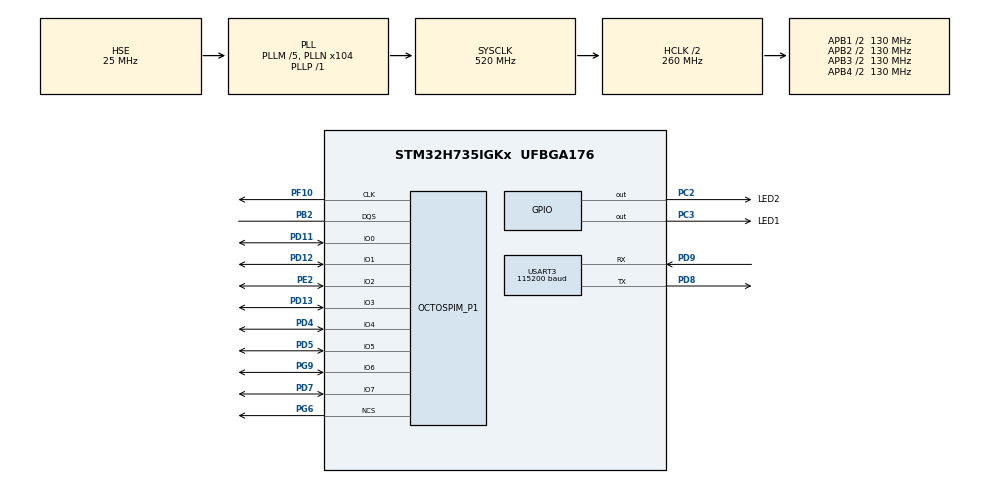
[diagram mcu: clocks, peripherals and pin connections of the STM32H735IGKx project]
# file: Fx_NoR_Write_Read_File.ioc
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CORTEX_M7.CPU_DCache=Enabled
CORTEX_M7.CPU_ICache=Enabled
CORTEX_M7.default_mode_Activation=1
Mcu.Family=STM32H7
Mcu.Name=STM32H735IGKx
Mcu.Package=UFBGA176
Mdma.MDMA_Channel0.OCTOSPI1_FIFO_TH.0.BlockCount=0
Mdma.MDMA_Channel0.OCTOSPI1_FIFO_TH.0.BlockDataLength=0
Mdma.MDMA_Channel0.OCTOSPI1_FIFO_TH.0.BufferTransferLength=1
Mdma.MDMA_Channel0.OCTOSPI1_FIFO_TH.0.CircularMode=MDMA_LINEAR_LIST
Mdma.MDMA_Channel0.OCTOSPI1_FIFO_TH.0.DataAlignment=MDMA_DATAALIGN_PACKENABLE
Mdma.MDMA_Channel0.OCTOSPI1_FIFO_TH.0.DestBlockAddressOffset=0
Mdma.MDMA_Channel0.OCTOSPI1_FIFO_TH.0.DestBurst=MDMA_DEST_BURST_SINGLE
Mdma.MDMA_Channel0.OCTOSPI1_FIFO_TH.0.DestDataSize=MDMA_DEST_DATASIZE_BYTE
Mdma.MDMA_Channel0.OCTOSPI1_FIFO_TH.0.DestinationInc=MDMA_DEST_INC_BYTE
Mdma.MDMA_Channel0.OCTOSPI1_FIFO_TH.0.DstAddress=0
Mdma.MDMA_Channel0.OCTOSPI1_FIFO_TH.0.Endianness=MDMA_LITTLE_ENDIANNESS_PRESERVE
Mdma.MDMA_Channel0.OCTOSPI1_FIFO_TH.0.Instance=MDMA_Channel0
Mdma.MDMA_Channel0.OCTOSPI1_FIFO_TH.0.MaskAddress=0
Mdma.MDMA_Channel0.OCTOSPI1_FIFO_TH.0.MaskData=0
Mdma.MDMA_Channel0.OCTOSPI1_FIFO_TH.0.Priority=MDMA_PRIORITY_LOW
Mdma.MDMA_Channel0.OCTOSPI1_FIFO_TH.0.Rank=First
Mdma.MDMA_Channel0.OCTOSPI1_FIFO_TH.0.SourceBlockAddressOffset=0
Mdma.MDMA_Channel0.OCTOSPI1_FIFO_TH.0.SourceBurst=MDMA_SOURCE_BURST_SINGLE
Mdma.MDMA_Channel0.OCTOSPI1_FIFO_TH.0.SourceDataSize=MDMA_SRC_DATASIZE_BYTE
Mdma.MDMA_Channel0.OCTOSPI1_FIFO_TH.0.SourceInc=MDMA_SRC_INC_BYTE
Mdma.MDMA_Channel0.OCTOSPI1_FIFO_TH.0.SrcAddress=0
Mdma.MDMA_Channel0.OCTOSPI1_FIFO_TH.0.TransferTriggerMode=MDMA_BUFFER_TRANSFER
Mdma.MDMA_Channel0.Request0=OCTOSPI1_FIFO_TH
Mdma.MDMA_Channel0.RequestsNb=1
Mdma.RequestSet0=MDMA_Channel0
Mdma.RequestSetsNb=1
NVIC.MDMA_IRQn=true\:4\:0\:true\:false\:true\:false\:false\:true\:true
NVIC.OCTOSPI1_IRQn=true\:8\:0\:true\:false\:true\:false\:true\:true\:true
NVIC.PriorityGroup=NVIC_PRIORITYGROUP_4
NVIC.TIM6_DAC_IRQn=true\:15\:0\:false\:false\:true\:false\:false\:true\:true
NVIC.TimeBase=TIM6_DAC_IRQn
NVIC.TimeBaseIP=TIM6
OCTOSPI1.ChipSelectBoundary=0
OCTOSPI1.ChipSelectHighTime=2
OCTOSPI1.ClkChipSelectHighTime=2
OCTOSPI1.ClockPrescaler=2
OCTOSPI1.DelayBlockBypass=HAL_OSPI_DELAY_BLOCK_USED
OCTOSPI1.DelayHoldQuarterCycle=HAL_OSPI_DHQC_ENABLE
OCTOSPI1.DeviceSize=26
OCTOSPI1.FifoThreshold=4
OCTOSPI1.MemoryType=HAL_OSPI_MEMTYPE_MACRONIX
PB2.Mode=OCTOSPI1_Port1_DQS
PB2.Signal=OCTOSPIM_P1_DQS
PC2.GPIO_Label=LED2
PC2.GPIO_Speed=GPIO_SPEED_FREQ_HIGH
PC2.PinState=GPIO_PIN_SET
PC2.Signal=GPIO_Output
PC3.GPIO_Label=LED1
PC3.GPIO_Speed=GPIO_SPEED_FREQ_HIGH
PC3.PinState=GPIO_PIN_SET
PC3.Signal=GPIO_Output
PD11.Mode=OCTOSPI1_IOL_Port1L
PD11.Signal=OCTOSPIM_P1_IO0
PD12.Mode=OCTOSPI1_IOL_Port1L
PD12.Signal=OCTOSPIM_P1_IO1
PD13.Mode=OCTOSPI1_IOL_Port1L
PD13.Signal=OCTOSPIM_P1_IO3
PD4.Mode=OCTOSPI1_IOH_Port1H
PD4.Signal=OCTOSPIM_P1_IO4
PD5.Mode=OCTOSPI1_IOH_Port1H
PD5.Signal=OCTOSPIM_P1_IO5
PD7.Mode=OCTOSPI1_IOH_Port1H
PD7.Signal=OCTOSPIM_P1_IO7
PD8.Mode=Asynchronous
PD8.Signal=USART3_TX
PD9.Mode=Asynchronous
PD9.Signal=USART3_RX
PE2.Mode=OCTOSPI1_IOL_Port1L
PE2.Signal=OCTOSPIM_P1_IO2
PF10.Mode=O1_P1_CLK
PF10.Signal=OCTOSPIM_P1_CLK
PG6.Mode=OCTOSPI1_Port1_NCS
PG6.Signal=OCTOSPIM_P1_NCS
PG9.Mode=OCTOSPI1_IOH_Port1H
PG9.Signal=OCTOSPIM_P1_IO6
PH0-OSC_IN.Mode=HSE-External-Oscillator
PH0-OSC_IN.Signal=RCC_OSC_IN
PH1-OSC_OUT.Mode=HSE-External-Oscillator
PH1-OSC_OUT.Signal=RCC_OSC_OUT
ProjectManager.HeapSize=0x200
ProjectManager.StackSize=0x400
ProjectManager.TargetToolchain=EWARM V8.50
RCC.ADCFreq_Value=50390625
RCC.APB1Freq_Value=130000000
RCC.APB2Freq_Value=130000000
RCC.APB3Freq_Value=130000000
RCC.APB4Freq_Value=130000000
RCC.CortexFreq_Value=520000000
RCC.D1PPRE=RCC_APB3_DIV2
RCC.D2PPRE1=RCC_APB1_DIV2
RCC.D2PPRE2=RCC_APB2_DIV2
RCC.D3PPRE=RCC_APB4_DIV2
RCC.DIVM1=5
RCC.DIVN1=104
RCC.DIVP1=1
RCC.DIVQ1=4
RCC.HCLKFreq_Value=260000000
RCC.HPRE=RCC_HCLK_DIV2
RCC.PLLSourceVirtual=RCC_PLLSOURCE_HSE
RCC.SYSCLKFreq_VALUE=520000000
RCC.SYSCLKSource=RCC_SYSCLKSOURCE_PLLCLK
RCC.SupplySource=PWR_DIRECT_SMPS_SUPPLY
RCC.USBFreq_Value=130000000
STMicroelectronics.X-CUBE-AZRTOS-H7.3.2.0.FILEX_APPLICATION_THREAD_STACK_SIZE=(1024 * 2)
STMicroelectronics.X-CUBE-AZRTOS-H7.3.2.0.FX_APP_MEM_POOL_SIZE=4*1024
STMicroelectronics.X-CUBE-AZRTOS-H7.3.2.0.FX_MAX_FAT_CACHE_NB_BIT=4
STMicroelectronics.X-CUBE-AZRTOS-H7.3.2.0.FileXCcFileOoSystemJjFileXJjCore=true
STMicroelectronics.X-CUBE-AZRTOS-H7.3.2.0.InterfacesCcFileOoSystemJjFileXOoLevelXOoNOROoOointerface=true
STMicroelectronics.X-CUBE-AZRTOS-H7.3.2.0.InterfacesCcFileOoSystemJjLevelXOoOctoSPIOomemoryOointerface=true
STMicroelectronics.X-CUBE-AZRTOS-H7.3.2.0.LX_DRIVER_ERASES_OSPI_AFTER_INIT=0
STMicroelectronics.X-CUBE-AZRTOS-H7.3.2.0.LevelXCcFileOoSystemJjLevelXJjNOROoFlashOoSupport=true
STMicroelectronics.X-CUBE-AZRTOS-H7.3.2.0.STM32CubeIiBSPIiComponentsCcBoardOoPartJjOSPIJjMX25LM51245G=true
STMicroelectronics.X-CUBE-AZRTOS-H7.3.2.0.STM32CubeIiBSPIiComponentsCcBoardOoPartJjOctoSPIJjMX25LM51245G=true
STMicroelectronics.X-CUBE-AZRTOS-H7.3.2.0.ThreadXCcRTOSJjThreadXJjCore=true
STMicroelectronics.X-CUBE-AZRTOS-H7.3.2.0_IsAnAzureRtosMw=true
USART3.BaudRate=115200
USART3.Parity=PARITY_NONE
USART3.VirtualMode-Asynchronous=VM_ASYNC
VP_OCTOSPI1_VS_octo.Mode=octo_mode
VP_STMicroelectronics.X-CUBE-AZRTOS-H7_VS_BoardOoPartJjSTM32CubeIiBSPIiComponents_3.2.0_3.2.0.Mode=BoardOoPartJjSTM32CubeIiBSPIiComponents
VP_STMicroelectronics.X-CUBE-AZRTOS-H7_VS_FileOoSystemJjFileX_6.2.1_3.2.0.Mode=FileOoSystemJjFileX
VP_STMicroelectronics.X-CUBE-AZRTOS-H7_VS_FileOoSystemJjInterfaces_3.2.0_3.2.0.Mode=FileOoSystemJjInterfaces
VP_STMicroelectronics.X-CUBE-AZRTOS-H7_VS_FileOoSystemJjLevelX_6.2.1_3.2.0.Mode=FileOoSystemJjLevelX
VP_STMicroelectronics.X-CUBE-AZRTOS-H7_VS_RTOSJjThreadX_6.2.1_3.2.0.Mode=RTOSJjThreadX
VP_SYS_VS_tim6.Mode=TIM6
board=STM32H735G-DK

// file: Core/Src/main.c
/* USER CODE BEGIN Header */
/**
  ******************************************************************************
  * @file           : main.c
  * @brief          : Main program body
  ******************************************************************************
  * @attention
  *
  * Copyright (c) 2021 STMicroelectronics.
  * All rights reserved.
  *
  * This software is licensed under terms that can be found in the LICENSE file
  * in the root directory of this software component.
  * If no LICENSE file comes with this software, it is provided AS-IS.
  *
  ******************************************************************************
  */
/* USER CODE END Header */
#include "app_threadx.h"
#include "main.h"

/* USER CODE BEGIN Includes */
#include <stdio.h>
#if defined(__ICCARM__)
#include <LowLevelIOInterface.h>
#endif /* __ICCARM__ */
/* USER CODE END Includes */

OSPI_HandleTypeDef hospi1;
MDMA_HandleTypeDef hmdma_octospi1_fifo_th;

UART_HandleTypeDef huart3;

void SystemClock_Config(void);
static void MPU_Config(void);
static void MX_GPIO_Init(void);
static void MX_MDMA_Init(void);
static void MX_OCTOSPI1_Init(void);
static void MX_USART3_UART_Init(void);
/* USER CODE BEGIN PFP */

#if defined(__ICCARM__)
/* New definition from EWARM V9, compatible with EWARM8 */
int iar_fputc(int ch);
#define PUTCHAR_PROTOTYPE int iar_fputc(int ch)
#elif defined ( __CC_ARM ) || defined(__ARMCC_VERSION)
/* ARM Compiler 5/6*/
#define PUTCHAR_PROTOTYPE int fputc(int ch, FILE *f)
#elif defined(__GNUC__)
#define PUTCHAR_PROTOTYPE int __io_putchar(int ch)
#endif /* __ICCARM__ */

/* USER CODE END PFP */

int main(void)
{

  /* MPU Configuration--------------------------------------------------------*/
  MPU_Config();

  /* Enable I-Cache---------------------------------------------------------*/
  SCB_EnableICache();

  /* Enable D-Cache---------------------------------------------------------*/
  SCB_EnableDCache();

  /* MCU Configuration--------------------------------------------------------*/

  /* Reset of all peripherals, Initializes the Flash interface and the Systick. */
  HAL_Init();

  /* Configure the system clock */
  SystemClock_Config();

  /* Initialize all configured peripherals */
  MX_GPIO_Init();
  MX_MDMA_Init();
  MX_OCTOSPI1_Init();
  MX_USART3_UART_Init();

  MX_ThreadX_Init();

  /* We should never get here as control is now taken by the scheduler */
  /* Infinite loop */
  while (1)
  {

  }
}

void SystemClock_Config(void)
{
  RCC_OscInitTypeDef RCC_OscInitStruct = {0};
  RCC_ClkInitTypeDef RCC_ClkInitStruct = {0};

  /** Supply configuration update enable
  */
  HAL_PWREx_ConfigSupply(PWR_DIRECT_SMPS_SUPPLY);

  /** Configure the main internal regulator output voltage
  */
  __HAL_PWR_VOLTAGESCALING_CONFIG(PWR_REGULATOR_VOLTAGE_SCALE0);

  while(!__HAL_PWR_GET_FLAG(PWR_FLAG_VOSRDY)) {}

  /** Initializes the RCC Oscillators according to the specified parameters
  * in the RCC_OscInitTypeDef structure.
  */
  RCC_OscInitStruct.OscillatorType = RCC_OSCILLATORTYPE_HSE;
  RCC_OscInitStruct.HSEState = RCC_HSE_ON;
  RCC_OscInitStruct.PLL.PLLState = RCC_PLL_ON;
  RCC_OscInitStruct.PLL.PLLSource = RCC_PLLSOURCE_HSE;
  RCC_OscInitStruct.PLL.PLLM = 5;
  RCC_OscInitStruct.PLL.PLLN = 104;
  RCC_OscInitStruct.PLL.PLLP = 1;
  RCC_OscInitStruct.PLL.PLLQ = 4;
  RCC_OscInitStruct.PLL.PLLR = 2;
  RCC_OscInitStruct.PLL.PLLRGE = RCC_PLL1VCIRANGE_2;
  RCC_OscInitStruct.PLL.PLLVCOSEL = RCC_PLL1VCOWIDE;
  RCC_OscInitStruct.PLL.PLLFRACN = 0;
  if (HAL_RCC_OscConfig(&RCC_OscInitStruct) != HAL_OK)
  {
    Error_Handler();
  }

  /** Initializes the CPU, AHB and APB buses clocks
  */
  RCC_ClkInitStruct.ClockType = RCC_CLOCKTYPE_HCLK|RCC_CLOCKTYPE_SYSCLK
                              |RCC_CLOCKTYPE_PCLK1|RCC_CLOCKTYPE_PCLK2
                              |RCC_CLOCKTYPE_D3PCLK1|RCC_CLOCKTYPE_D1PCLK1;
  RCC_ClkInitStruct.SYSCLKSource = RCC_SYSCLKSOURCE_PLLCLK;
  RCC_ClkInitStruct.SYSCLKDivider = RCC_SYSCLK_DIV1;
  RCC_ClkInitStruct.AHBCLKDivider = RCC_HCLK_DIV2;
  RCC_ClkInitStruct.APB3CLKDivider = RCC_APB3_DIV2;
  RCC_ClkInitStruct.APB1CLKDivider = RCC_APB1_DIV2;
  RCC_ClkInitStruct.APB2CLKDivider = RCC_APB2_DIV2;
  RCC_ClkInitStruct.APB4CLKDivider = RCC_APB4_DIV2;

  if (HAL_RCC_ClockConfig(&RCC_ClkInitStruct, FLASH_LATENCY_3) != HAL_OK)
  {
    Error_Handler();
  }
}

static void MX_OCTOSPI1_Init(void)
{

  OSPIM_CfgTypeDef sOspiManagerCfg = {0};

  /* OCTOSPI1 parameter configuration*/
  hospi1.Instance = OCTOSPI1;
  hospi1.Init.FifoThreshold = 4;
  hospi1.Init.DualQuad = HAL_OSPI_DUALQUAD_DISABLE;
  hospi1.Init.MemoryType = HAL_OSPI_MEMTYPE_MACRONIX;
  hospi1.Init.DeviceSize = 26;
  hospi1.Init.ChipSelectHighTime = 2;
  hospi1.Init.FreeRunningClock = HAL_OSPI_FREERUNCLK_DISABLE;
  hospi1.Init.ClockMode = HAL_OSPI_CLOCK_MODE_0;
  hospi1.Init.WrapSize = HAL_OSPI_WRAP_NOT_SUPPORTED;
  hospi1.Init.ClockPrescaler = 2;
  hospi1.Init.SampleShifting = HAL_OSPI_SAMPLE_SHIFTING_NONE;
  hospi1.Init.DelayHoldQuarterCycle = HAL_OSPI_DHQC_ENABLE;
  hospi1.Init.ChipSelectBoundary = 0;
  hospi1.Init.DelayBlockBypass = HAL_OSPI_DELAY_BLOCK_USED;
  hospi1.Init.MaxTran = 0;
  hospi1.Init.Refresh = 0;
  if (HAL_OSPI_Init(&hospi1) != HAL_OK)
  {
    Error_Handler();
  }
  sOspiManagerCfg.ClkPort = 1;
  sOspiManagerCfg.DQSPort = 1;
  sOspiManagerCfg.NCSPort = 1;
  sOspiManagerCfg.IOLowPort = HAL_OSPIM_IOPORT_1_LOW;
  sOspiManagerCfg.IOHighPort = HAL_OSPIM_IOPORT_1_HIGH;
  if (HAL_OSPIM_Config(&hospi1, &sOspiManagerCfg, HAL_OSPI_TIMEOUT_DEFAULT_VALUE) != HAL_OK)
  {
    Error_Handler();
  }

}

static void MX_USART3_UART_Init(void)
{

  huart3.Instance = USART3;
  huart3.Init.BaudRate = 921600;
  huart3.Init.WordLength = UART_WORDLENGTH_8B;
  huart3.Init.StopBits = UART_STOPBITS_1;
  huart3.Init.Parity = UART_PARITY_NONE;
  huart3.Init.Mode = UART_MODE_TX_RX;
  huart3.Init.HwFlowCtl = UART_HWCONTROL_NONE;
  huart3.Init.OverSampling = UART_OVERSAMPLING_16;
  huart3.Init.OneBitSampling = UART_ONE_BIT_SAMPLE_DISABLE;
  huart3.Init.ClockPrescaler = UART_PRESCALER_DIV1;
  huart3.AdvancedInit.AdvFeatureInit = UART_ADVFEATURE_NO_INIT;
  if (HAL_UART_Init(&huart3) != HAL_OK)
  {
    Error_Handler();
  }
  if (HAL_UARTEx_SetTxFifoThreshold(&huart3, UART_TXFIFO_THRESHOLD_1_8) != HAL_OK)
  {
    Error_Handler();
  }
  if (HAL_UARTEx_SetRxFifoThreshold(&huart3, UART_RXFIFO_THRESHOLD_1_8) != HAL_OK)
  {
    Error_Handler();
  }
  if (HAL_UARTEx_DisableFifoMode(&huart3) != HAL_OK)
  {
    Error_Handler();
  }

}

/**
  * Enable MDMA controller clock
  */
static void MX_MDMA_Init(void)
{

  /* MDMA controller clock enable */
  __HAL_RCC_MDMA_CLK_ENABLE();
  /* Local variables */

  /* MDMA interrupt initialization */
  /* MDMA_IRQn interrupt configuration */
  HAL_NVIC_SetPriority(MDMA_IRQn, 4, 0);
  HAL_NVIC_EnableIRQ(MDMA_IRQn);

}

static void MX_GPIO_Init(void)
{
  GPIO_InitTypeDef GPIO_InitStruct = {0};

  /* GPIO Ports Clock Enable */
  __HAL_RCC_GPIOG_CLK_ENABLE();
  __HAL_RCC_GPIOD_CLK_ENABLE();
  __HAL_RCC_GPIOE_CLK_ENABLE();
  __HAL_RCC_GPIOH_CLK_ENABLE();
  __HAL_RCC_GPIOF_CLK_ENABLE();
  __HAL_RCC_GPIOC_CLK_ENABLE();
  __HAL_RCC_GPIOB_CLK_ENABLE();

  /*Configure GPIO pin Output Level */
  HAL_GPIO_WritePin(GPIOC, LED2_Pin|LED1_Pin, GPIO_PIN_SET);

  /*Configure GPIO pins : LED2_Pin LED1_Pin */
  GPIO_InitStruct.Pin = LED2_Pin|LED1_Pin;
  GPIO_InitStruct.Mode = GPIO_MODE_OUTPUT_PP;
  GPIO_InitStruct.Pull = GPIO_NOPULL;
  GPIO_InitStruct.Speed = GPIO_SPEED_FREQ_HIGH;
  HAL_GPIO_Init(GPIOC, &GPIO_InitStruct);

}

/* USER CODE BEGIN 4 */

#if defined(__ICCARM__)
size_t __write(int file, unsigned char const *ptr, size_t len)
{
 size_t idx;
 unsigned char const *pdata = ptr;

 for (idx = 0; idx < len; idx++)
 {
 iar_fputc((int)*pdata);
 pdata++;
 }
 return len;
}
#endif /* __ICCARM__ */

/**
* @brief  Retargets the C library printf function to the USART.
* @param  None
* @retval None
*/
PUTCHAR_PROTOTYPE
{
  /* Place your implementation of fputc here */
  /* e.g. write a character to the USART3 and Loop until the end of transmission */
  HAL_UART_Transmit(&huart3, (uint8_t *)&ch, 1, 0xFFFF);
  return ch;
}
/* USER CODE END 4 */

/* MPU Configuration */

void MPU_Config(void)
{
  MPU_Region_InitTypeDef MPU_InitStruct = {0};

  /* Disables the MPU */
  HAL_MPU_Disable();

  /** Initializes and configures the Region and the memory to be protected
  */
  MPU_InitStruct.Enable = MPU_REGION_ENABLE;
  MPU_InitStruct.Number = MPU_REGION_NUMBER0;
  MPU_InitStruct.BaseAddress = 0x0;
  MPU_InitStruct.Size = MPU_REGION_SIZE_4GB;
  MPU_InitStruct.SubRegionDisable = 0x87;
  MPU_InitStruct.TypeExtField = MPU_TEX_LEVEL0;
  MPU_InitStruct.AccessPermission = MPU_REGION_NO_ACCESS;
  MPU_InitStruct.DisableExec = MPU_INSTRUCTION_ACCESS_DISABLE;
  MPU_InitStruct.IsShareable = MPU_ACCESS_SHAREABLE;
  MPU_InitStruct.IsCacheable = MPU_ACCESS_NOT_CACHEABLE;
  MPU_InitStruct.IsBufferable = MPU_ACCESS_NOT_BUFFERABLE;

  HAL_MPU_ConfigRegion(&MPU_InitStruct);
  /* Enables the MPU */
  HAL_MPU_Enable(MPU_PRIVILEGED_DEFAULT);

}

void HAL_TIM_PeriodElapsedCallback(TIM_HandleTypeDef *htim)
{
  if (htim->Instance == TIM6) {
    HAL_IncTick();
  }
}

void Error_Handler(void)
{
  /* USER CODE BEGIN Error_Handler_Debug */
  /* User can add his own implementation to report the HAL error return state */
  HAL_GPIO_WritePin(LED1_GPIO_Port, LED1_Pin, GPIO_PIN_SET);
  while (1)
  {
    HAL_GPIO_TogglePin(LED2_GPIO_Port, LED2_Pin);
    HAL_Delay(200);
  }
  /* USER CODE END Error_Handler_Debug */
}
